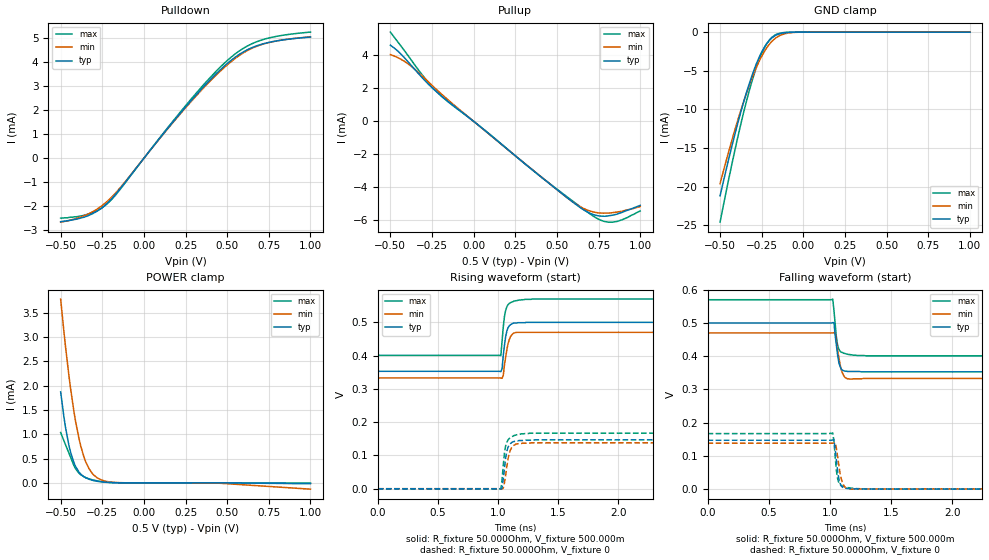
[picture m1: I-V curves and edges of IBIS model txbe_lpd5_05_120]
| [Disclaimer]
| Copyright (c) 2020 Synopsys Inc.All rights reserved
| From t736_lpddr5_allwinner_v0p1.ibs, dwc_ddrphy_txbe, allwinner
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[Model] txbe_lpd5_05_120
Model_type   I/O
Polarity   Non-Inverting
Enable   Active-High
C_comp   1.521pF   1.516pF   1.523pF
C_comp_pullup   283.980fF   278.357fF   289.111fF
C_comp_pulldown   1.177pF   1.173pF   1.178pF
Vinh = 310.000mV
Vinl = 190.000mV
Vmeas = 250.000mV
Vref = 250.000mV
Rref = 50Ohms
Cref = 0pF
[Model Spec]
Vinh   310.000mV   295.000mV   345.000mV
Vinl   190.000mV   175.000mV   225.000mV
Vmeas   250.000mV   235.000mV   285.000mV
Vref   250.000mV   235.000mV   285.000mV
D_overshoot_ampl_h 0.1 NA   NA
D_overshoot_ampl_l 0.1 NA   NA
D_overshoot_area_l 300.000m NA   NA
D_overshoot_area_h 300.000m NA   NA
[Receiver Thresholds]
Vth = 125.000mV
Vth_min = 118.000mV
Vth_max = 143.000mV
Vinh_ac = 60.000mV
Vinh_dc = 60.000mV
Vinl_ac = -60.000mV
Vinl_dc = -60.000mV
Tslew_ac = 5.000ns
Threshold_sensitivity = 0.5
Reference_supply Pullup_ref
[Temperature Range]   25.000   125.000   -40.000
[Voltage Range]   500.000mV   470.000mV   570.000mV
[GND Clamp Reference]   0.00V   0.00V   0.00V
[C Comp Corner]
| variable   typ   min   max
C_comp   1.521pF   1.516pF   1.523pF
C_comp_pullup   283.980fF   278.357fF   289.111fF
C_comp_pulldown   1.177pF   1.173pF   1.178pF
[Pulldown Reference]   0.00V   0.00V   0.00V
[POWER Clamp Reference]   500.000mV   470.000mV   570.000mV
[Pullup Reference]   500.000mV   470.000mV   570.000mV
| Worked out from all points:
|   slope of the pulldown table from 0 to 0.075 V, typ, clamps not added: 114 ohm
|   slope of the pullup table from 0 to 0.075 V, typ, clamps not added: 122 ohm
|   GND clamp passes 1 mA (typ) near -0.20 V on its own axis
|   POWER clamp passes 1 mA (typ) near -0.46 V on its own axis
|   rising waveform, R_fixture 50.000Ohm, V_fixture 500.000m: 20-80 % time 32.4ps typ, 39.1ps min, 32.1ps max; typ from 0.353 V to 0.5 V
|   rising waveform, R_fixture 50.000Ohm, V_fixture 0: 20-80 % time 33.7ps typ, 39.6ps min, 32.5ps max; typ from 0 V to 0.147 V
|   falling waveform, R_fixture 50.000Ohm, V_fixture 500.000m: 20-80 % time 31.6ps typ, 39ps min, 29ps max; typ from 0.5 V to 0.353 V
|   falling waveform, R_fixture 50.000Ohm, V_fixture 0: 20-80 % time 30.3ps typ, 37.6ps min, 26.8ps max; typ from 0.147 V to 0 V
[GND Clamp]
-500mV    -21.19mA   -19.61mA   -24.6mA
-450mV    -16.59mA   -15.61mA   -19.24mA
-400mV    -12.31mA   -11.86mA   -14.21mA
-360mV    -9.162mA   -9.095mA   -10.52mA
-330mV    -7.024mA   -7.2mA     -8.001mA
-290mV    -4.538mA   -4.96mA    -5.07mA
-260mV    -3.008mA   -3.535mA   -3.266mA
-230mV    -1.811mA   -2.361mA   -1.867mA
-190mV    -763.4uA   -1.219mA   -686.8uA
-130mV    -137.4uA   -333.9uA   -84.17uA
-50mV     -6.966uA   -28.44uA   -2.488uA
1V        1.073uA    8.225uA    320nA
[Power Clamp]
-500mV    1.872mA    3.782mA    1.035mA
-480mV    1.347mA    3.098mA    864.4uA
-450mV    765.9uA    2.197mA    609.1uA
-420mV    411.7uA    1.464mA    353.8uA
-390mV    221.9uA    911uA      199.1uA
-350mV    105.4uA    437.4uA    109.2uA
-310mV    53.9uA     193.6uA    63.6uA
-280mV    32.32uA    102.1uA    40.75uA
-240mV    14.94uA    42.5uA     19.78uA
-160mV    1.814uA    6.334uA    2.095uA
440mV     -336.4nA   -5.746uA   -49.23nA
1V        -17.55uA   -129.9uA   -3.392uA
[Pulldown]
-500mV    -2.64mA    -2.66mA    -2.49mA
-340mV    -2.405mA   -2.34mA    -2.334mA
-280mV    -2.197mA   -2.111mA   -2.178mA
-220mV    -1.871mA   -1.792mA   -1.891mA
-140mV    -1.246mA   -1.208mA   -1.271mA
110mV     960.1uA    944.5uA    981uA
280mV     2.368mA    2.33mA     2.428mA
430mV     3.485mA    3.43mA     3.589mA
540mV     4.158mA    4.104mA    4.292mA
630mV     4.539mA    4.506mA    4.696mA
710mV     4.744mA    4.732mA    4.921mA
1V        5.037mA    5.046mA    5.243mA
[Pullup]
-500mV    4.612mA    4.042mA    5.406mA
-450mV    4.207mA    3.833mA    4.742mA
-380mV    3.45mA     3.378mA    3.787mA
-270mV    2.238mA    2.373mA    2.334mA
-190mV    1.502mA    1.624mA    1.494mA
520mV     -4.294mA   -4.301mA   -4.26mA
590mV     -4.85mA    -4.846mA   -4.795mA
660mV     -5.359mA   -5.278mA   -5.326mA
730mV     -5.685mA   -5.513mA   -5.818mA
810mV     -5.725mA   -5.56mA    -6.109mA
890mV     -5.52mA    -5.45mA    -5.969mA
1V        -5.09mA    -5.16mA    -5.43mA
[Ramp]
R_load=50.000Ohm
dV/dt_r   88.185mV/33.500ps  82.383mV/39.500ps  100.797mV/33.000ps
dV/dt_f   88.184mV/32.000ps  82.383mV/39.000ps  100.796mV/28.500ps
[Rising waveform]
R_fixture=50.000Ohm
V_fixture=500.000m
V_fixture_min=470.000m
V_fixture_max=570.000m
0s        353mV      333mV      401mV
1.023ns   352mV      333mV      400mV
1.033ns   360mV      332mV      443mV
1.043ns   400mV      340mV      485mV
1.053ns   431mV      372mV      518mV
1.073ns   474mV      418mV      547mV
1.093ns   490mV      448mV      557mV
1.123ns   497mV      466mV      562mV
1.223ns   499mV      470mV      569mV
10ns      500mV      470mV      570mV
[Rising waveform]
R_fixture=50.000Ohm
V_fixture=0
0s        51.45uV    389.6uV    10.14uV
1.023ns   -1.15mV    -32.04uV   -786.7uV
1.033ns   2.05mV     -814.3uV   26.22mV
1.053ns   61.46mV    17.57mV    108mV
1.063ns   93mV       40.46mV    129mV
1.083ns   125mV      90.3mV     147mV
1.103ns   136mV      117mV      154mV
1.123ns   141mV      129mV      158mV
1.263ns   146mV      137mV      167mV
10ns      147mV      138mV      167mV
[Falling waveform]
R_fixture=50.000Ohm
V_fixture=500.000m
V_fixture_min=470.000m
V_fixture_max=570.000m
0s        500mV      470mV      570mV
1.023ns   501mV      470mV      572mV
1.033ns   501mV      471mV      537mV
1.043ns   462mV      471mV      497mV
1.053ns   433mV      443mV      457mV
1.073ns   381mV      395mV      421mV
1.093ns   361mV      359mV      412mV
1.123ns   355mV      336mV      408mV
1.223ns   354mV      332mV      402mV
10ns      353mV      333mV      401mV
[Falling waveform]
R_fixture=50.000Ohm
V_fixture=0
0s        147mV      138mV      167mV
1.023ns   148mV      138mV      169mV
1.033ns   148mV      139mV      144mV
1.043ns   120mV      139mV      97.54mV
1.053ns   85.68mV    122mV      55.67mV
1.073ns   30.74mV    69.93mV    18.89mV
1.093ns   9.395mV    30.44mV    10.48mV
1.123ns   2.756mV    5.691mV    6.25mV
1.243ns   421.5uV    40.01uV    927.1uV
10ns      54.98uV    390.1uV    13.05uV
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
